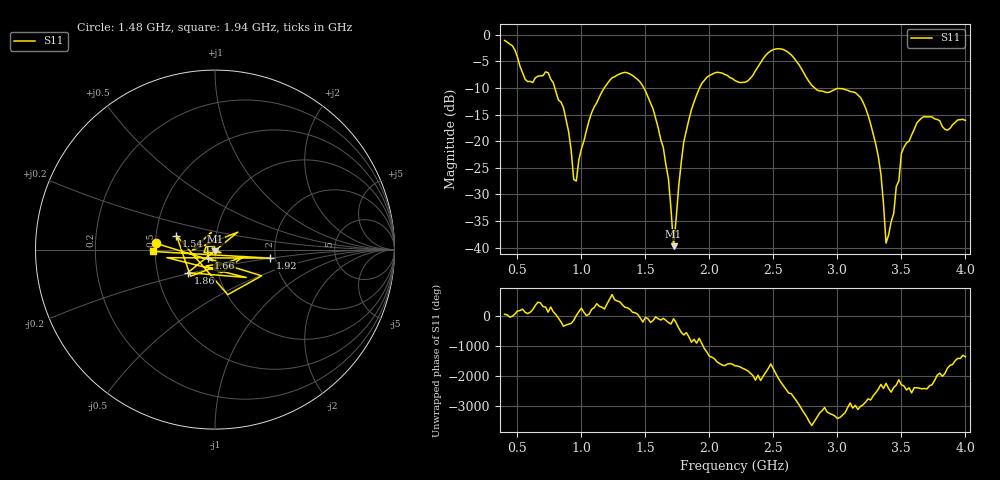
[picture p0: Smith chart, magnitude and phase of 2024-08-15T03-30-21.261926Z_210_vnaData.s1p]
!Created with skrf (http://scikit-rf.org).
# Hz S RI R 50.0
!freq ReS11 ImS11
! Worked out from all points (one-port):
!   181 points, 400 MHz to 4 GHz, reference 50 ohm
!   lowest |S11| = -39.7 dB at 1.72 GHz (marker M1), VSWR 1.02, Z = 50.3 - j1 ohm
!   |S11| at or under -10 dB: 792.3 MHz to 1.178 GHz (386 MHz wide, 39.2 % of centre); 1.488 GHz to 1.923 GHz (434.2 MHz wide, 25.5 % of centre); 2.823 GHz to end of sweep
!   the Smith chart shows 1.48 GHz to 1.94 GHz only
!   S11 on the Smith chart (normalised r, x): 1.48 GHz: 0.50, +0.04; 1.54 GHz: 0.64, +0.11; 1.66 GHz: 0.92, -0.09; 1.86 GHz: 0.72, -0.19; 1.92 GHz: 1.88, -0.20; 1.94 GHz: 0.48, -0.01
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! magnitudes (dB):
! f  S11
! 400 MHz  -1.1
! 580 MHz  -8.8
! 740 MHz  -7.1
! 860 MHz  -13.7
! 960 MHz  -27.5
! 1.08 GHz  -14.6
! 1.3 GHz  -7.3
! 1.48 GHz  -9.6
! 1.54 GHz  -12.8
! 1.66 GHz  -24.4
! 1.72 GHz  -39.7
! 1.76 GHz  -28.5
! 1.86 GHz  -14.0
! 1.92 GHz  -10.1
! 1.94 GHz  -9.2
! 2.2 GHz  -8.6
! 2.5 GHz  -2.8
! 2.66 GHz  -4.3
! 2.84 GHz  -10.4
! 3.1 GHz  -10.7
! 3.2 GHz  -12.6
! 3.3 GHz  -20.6
! 3.34 GHz  -26.2
! 3.38 GHz  -39.2
! 3.5 GHz  -22.3
! 3.56 GHz  -20.0
! 3.68 GHz  -15.4
! 4 GHz  -16.1
